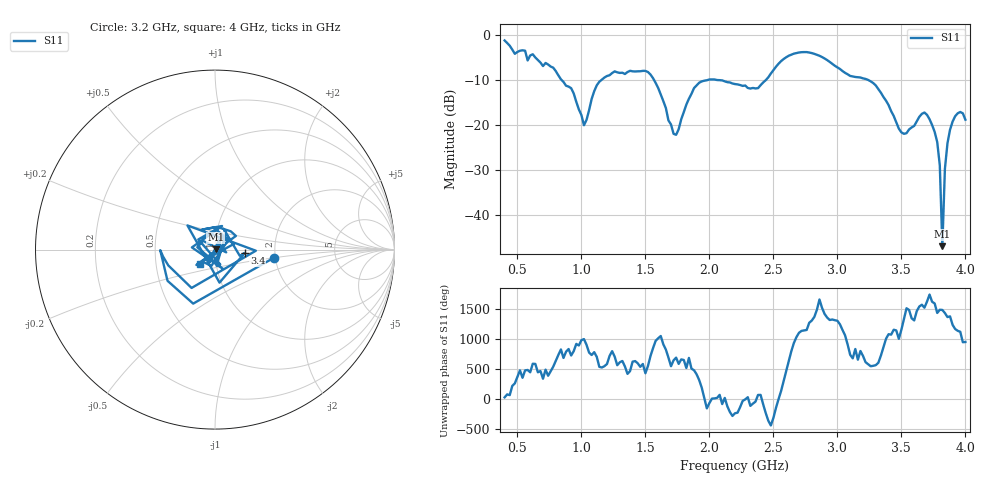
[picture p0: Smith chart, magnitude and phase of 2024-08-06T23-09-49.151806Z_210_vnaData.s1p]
!Created with skrf (http://scikit-rf.org).
# Hz S RI R 50.0
!freq ReS11 ImS11
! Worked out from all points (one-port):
!   181 points, 400 MHz to 4 GHz, reference 50 ohm
!   lowest |S11| = -47.0 dB at 3.82 GHz (marker M1), VSWR 1.01, Z = 50.4 + j0.264 ohm
!   |S11| at or under -10 dB: 1.567 GHz to 1.988 GHz (420.2 MHz wide, 23.6 % of centre); 2.058 GHz to 2.442 GHz (384 MHz wide, 17.1 % of centre); 3.24 GHz to end of sweep (the widest 3 of 4)
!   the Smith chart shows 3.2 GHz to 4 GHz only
!   S11 on the Smith chart (normalised r, x): 3.2 GHz: 1.95, -0.20; 3.4 GHz: 1.39, -0.06; 4 GHz: 0.84, -0.13
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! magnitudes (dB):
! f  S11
! 400 MHz  -1.2
! 860 MHz  -10.4
! 940 MHz  -13.0
! 1.02 GHz  -20.1
! 1.12 GHz  -11.2
! 1.3 GHz  -8.4
! 1.52 GHz  -8.2
! 1.6 GHz  -11.8
! 1.72 GHz  -22.0
! 1.76 GHz  -21.0
! 1.92 GHz  -10.6
! 2.2 GHz  -10.9
! 2.38 GHz  -11.8
! 2.66 GHz  -4.1
! 2.86 GHz  -4.6
! 3.1 GHz  -9.1
! 3.2 GHz  -9.6
! 3.4 GHz  -15.6
! 3.5 GHz  -21.7
! 3.56 GHz  -21.0
! 3.68 GHz  -17.3
! 3.76 GHz  -21.6
! 3.8 GHz  -29.0
! 3.82 GHz  -47.0
! 3.84 GHz  -29.8
! 3.86 GHz  -24.1
! 3.92 GHz  -18.1
! 4 GHz  -18.8
